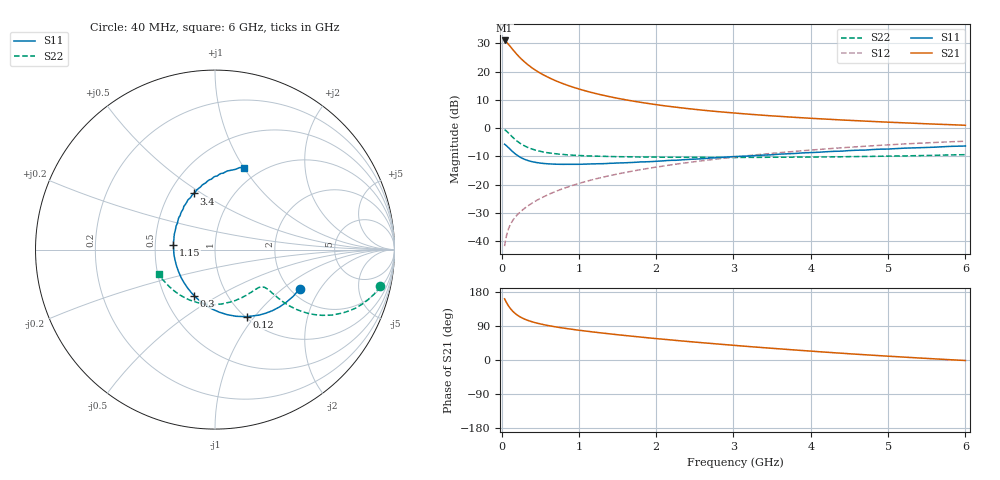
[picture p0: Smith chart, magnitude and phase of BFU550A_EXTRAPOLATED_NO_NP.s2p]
! File generated using interpolate_touchstone.py
! Bias conditions:
! Vcc = 2.99V
! Ic = 18.9mA
! Date: 2024-08-14 05:18:36.817997
! Created with skrf (http://scikit-rf.org).
# MHz S MA R 50.0
!freq magS11 angS11 magS21 angS21 magS12 angS12 magS22 angS22
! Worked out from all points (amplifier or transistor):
!   98 points, 40 MHz to 6 GHz, reference 50 ohm
!   highest |S21| = 31.0 dB at 40 MHz (marker M1)
!   |S21| within 3 dB of that: start of sweep to 139.5 MHz
!   unconditionally stable (mu >= 1): 1.064 GHz to 1.666 GHz
!   at 300 MHz: K = 0.79, MSG = 25.8 dB, |S12| = -28.3 dB
!   at 1.6 GHz: K = 1.00, MAG = 12.6 dB, |S12| = -15.6 dB
!   at 6 GHz: K = 0.90, MSG = 2.8 dB, |S12| = -4.6 dB
!   S11 on the Smith chart (normalised r, x): 40 MHz: 2.24, -1.34; 120 MHz: 1.01, -0.91; 300 MHz: 0.70, -0.39; 1.15 GHz: 0.62, +0.04; 3.4 GHz: 0.66, +0.46; 6 GHz: 0.84, +1.00
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40  0.5202 -24.8  35.41 161.4  0.008242 81.3  0.9425 -12.5
60  0.4941 -36.3  33.44 153.3  0.01191 77.2  0.8978 -18.1
80  0.4669 -46.8  31.3 146.1  0.01512 74.3  0.8475 -22.7
100  0.4395 -56.2  29.12 139.9  0.01798 72.1  0.7957 -26.3
120  0.413 -64.8  27.01 134.5  0.02054 70.5  0.7468 -29.2
160  0.3685 -79.5  23.15 125.8  0.0251 68.7  0.6614 -33.2
200  0.3343 -91.7  20.02 119.1  0.02917 68.1  0.5932 -35.5
240  0.3083 -101.8  17.57 113.8  0.03295 68.3  0.5415 -36.7
300  0.2813 -114.5  14.71 107.8  0.03854 68.9  0.4852 -37.4
360  0.2638 -124.8  12.61 103.2  0.04413 69.6  0.4458 -37.5
420  0.2521 -133.4  11.01 99.4  0.04972 70.3  0.4175 -37.3
600  0.2347 -152.8  7.956 91.0  0.06672 71.7  0.3679 -36.9
800  0.2298 -167.8  6.078 84.3  0.086 72.2  0.3432 -37.6
1050  0.231 177.9  4.704 77.3  0.1104 72.0  0.3269 -39.8
1150  0.2335 173.1  4.319 74.8  0.1203 71.7  0.3224 -41.0
1550  0.2435 157.0  3.275 65.7  0.1601 69.7  0.313 -47.2
2050  0.2624 141.6  2.545 55.6  0.21 66.3  0.3077 -56.7
3100  0.3181 116.5  1.811 37.1  0.3182 57.5  0.3041 -80.4
3400  0.3348 110.7  1.685 32.4  0.3491 54.5  0.3057 -87.8
4100  0.3754 97.9  1.468 22.0  0.4203 47.4  0.3101 -106.0
5200  0.443 81.2  1.244 7.7  0.526 35.1  0.3235 -134.9
6000  0.4842 70.7  1.125 -1.3  0.5882 25.8  0.3403 -157.0
